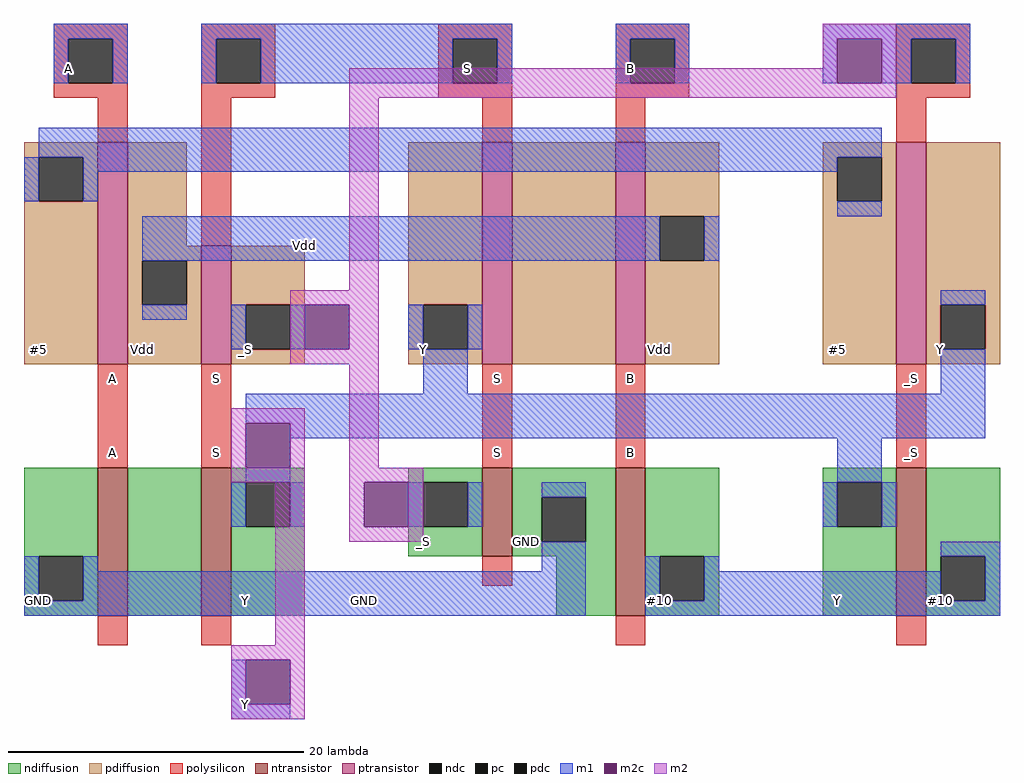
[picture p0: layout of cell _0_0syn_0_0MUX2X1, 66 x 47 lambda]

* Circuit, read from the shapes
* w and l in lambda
.subckt _0_0syn_0_0MUX2X1 GND Vdd S B Y A
M1 n1 A GND VSUBS nfet w=10 l=2
M2 Y S n1 VSUBS nfet w=10 l=2
M3 GND S _S VSUBS nfet w=6 l=2
M4 #10 B GND VSUBS nfet w=10 l=2
M5 #10 _S Y VSUBS nfet w=10 l=2
M6 Vdd A #5 NWELL pfet w=15 l=2
M7 _S S Vdd NWELL pfet w=8 l=2
M8 n2 S Y NWELL pfet w=15 l=2
M9 Vdd B n2 NWELL pfet w=15 l=2
M10 Y _S #5 NWELL pfet w=15 l=2
.ends

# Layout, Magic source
magic
tech sky130l
<< ndiffusion >>
rect 8 10 13 16
rect 8 7 9 10
rect 12 7 13 10
rect 8 6 13 7
rect 15 6 20 16
rect 22 15 27 16
rect 22 12 23 15
rect 26 12 27 15
rect 22 6 27 12
rect 34 15 39 16
rect 34 12 35 15
rect 38 12 39 15
rect 34 10 39 12
rect 41 14 48 16
rect 41 11 43 14
rect 46 11 48 14
rect 41 10 48 11
rect 44 6 48 10
rect 50 10 55 16
rect 50 7 51 10
rect 54 7 55 10
rect 50 6 55 7
rect 62 15 67 16
rect 62 12 63 15
rect 66 12 67 15
rect 62 6 67 12
rect 69 10 74 16
rect 69 7 70 10
rect 73 7 74 10
rect 69 6 74 7
<< ndc >>
rect 9 7 12 10
rect 23 12 26 15
rect 35 12 38 15
rect 43 11 46 14
rect 51 7 54 10
rect 63 12 66 15
rect 70 7 73 10
<< ntransistor >>
rect 13 6 15 16
rect 20 6 22 16
rect 39 10 41 16
rect 48 6 50 16
rect 67 6 69 16
<< pdiffusion >>
rect 8 37 13 38
rect 8 34 9 37
rect 12 34 13 37
rect 8 23 13 34
rect 15 31 19 38
rect 15 30 20 31
rect 15 27 16 30
rect 19 27 20 30
rect 15 23 20 27
rect 22 27 27 31
rect 22 24 23 27
rect 26 24 27 27
rect 22 23 27 24
rect 34 27 39 38
rect 34 24 35 27
rect 38 24 39 27
rect 34 23 39 24
rect 41 23 48 38
rect 50 33 55 38
rect 50 30 51 33
rect 54 30 55 33
rect 50 23 55 30
rect 62 37 67 38
rect 62 34 63 37
rect 66 34 67 37
rect 62 23 67 34
rect 69 27 74 38
rect 69 24 70 27
rect 73 24 74 27
rect 69 23 74 24
<< pdc >>
rect 9 34 12 37
rect 16 27 19 30
rect 23 24 26 27
rect 35 24 38 27
rect 51 30 54 33
rect 63 34 66 37
rect 70 24 73 27
<< ptransistor >>
rect 13 23 15 38
rect 20 23 22 31
rect 39 23 41 38
rect 48 23 50 38
rect 67 23 69 38
<< polysilicon >>
rect 10 45 15 46
rect 10 42 11 45
rect 14 42 15 45
rect 10 41 15 42
rect 13 38 15 41
rect 20 45 25 46
rect 20 42 21 45
rect 24 42 25 45
rect 20 41 25 42
rect 36 45 41 46
rect 36 42 37 45
rect 40 42 41 45
rect 36 41 41 42
rect 20 31 22 41
rect 39 38 41 41
rect 48 45 53 46
rect 48 42 49 45
rect 52 42 53 45
rect 48 41 53 42
rect 67 45 72 46
rect 67 42 68 45
rect 71 42 72 45
rect 67 41 72 42
rect 48 38 50 41
rect 67 38 69 41
rect 13 16 15 23
rect 20 16 22 23
rect 39 16 41 23
rect 48 16 50 23
rect 67 16 69 23
rect 39 8 41 10
rect 13 4 15 6
rect 20 4 22 6
rect 48 4 50 6
rect 67 4 69 6
<< pc >>
rect 11 42 14 45
rect 21 42 24 45
rect 37 42 40 45
rect 49 42 52 45
rect 68 42 71 45
<< m1 >>
rect 10 45 15 46
rect 10 42 11 45
rect 14 42 15 45
rect 20 45 41 46
rect 20 42 21 45
rect 24 42 37 45
rect 40 42 41 45
rect 48 45 53 46
rect 48 42 49 45
rect 52 42 53 45
rect 62 45 72 46
rect 62 42 63 45
rect 66 42 68 45
rect 71 42 72 45
rect 9 37 66 39
rect 8 34 9 37
rect 12 36 63 37
rect 12 34 13 36
rect 63 33 66 34
rect 16 30 51 33
rect 54 30 55 33
rect 70 27 73 28
rect 16 26 19 27
rect 22 24 23 27
rect 26 24 27 27
rect 34 24 35 27
rect 38 24 39 27
rect 35 21 38 24
rect 70 21 73 24
rect 23 19 73 21
rect 26 18 73 19
rect 23 15 26 16
rect 63 15 66 18
rect 22 12 23 15
rect 26 12 27 15
rect 34 12 35 15
rect 38 12 39 15
rect 43 14 46 15
rect 62 12 63 15
rect 66 12 67 15
rect 8 7 9 10
rect 12 9 13 10
rect 43 9 46 11
rect 70 10 74 11
rect 12 7 46 9
rect 8 6 46 7
rect 50 7 51 10
rect 54 9 55 10
rect 54 7 70 9
rect 73 7 74 10
rect 50 6 74 7
rect 22 0 23 3
rect 22 -1 26 0
<< m2c >>
rect 63 42 66 45
rect 27 24 30 27
rect 23 16 26 19
rect 31 12 34 15
rect 23 0 26 3
<< m2 >>
rect 62 45 67 46
rect 62 43 63 45
rect 30 42 63 43
rect 66 42 67 45
rect 30 41 67 42
rect 30 28 32 41
rect 26 27 32 28
rect 26 24 27 27
rect 30 24 32 27
rect 26 23 32 24
rect 22 19 27 20
rect 22 16 23 19
rect 26 16 27 19
rect 22 15 27 16
rect 25 4 27 15
rect 30 16 32 23
rect 30 15 35 16
rect 30 12 31 15
rect 34 12 35 15
rect 30 11 35 12
rect 22 3 27 4
rect 22 0 23 3
rect 26 0 27 3
rect 22 -1 27 0
<< labels >>
rlabel ndiffusion 23 7 23 7 3 Y
rlabel polysilicon 14 17 14 17 3 A
rlabel polysilicon 14 22 14 22 3 A
rlabel ndiffusion 9 7 9 7 3 GND
rlabel pdiffusion 9 24 9 24 3 #5
rlabel ndiffusion 51 7 51 7 3 #10
rlabel polysilicon 49 17 49 17 3 B
rlabel polysilicon 49 22 49 22 3 B
rlabel ndiffusion 42 11 42 11 3 GND
rlabel pdiffusion 35 24 35 24 3 Y
rlabel ndiffusion 70 7 70 7 3 #10
rlabel pdiffusion 70 24 70 24 3 Y
rlabel ndiffusion 63 7 63 7 3 Y
rlabel pdiffusion 63 24 63 24 3 #5
rlabel pdiffusion 16 24 16 24 3 Vdd
rlabel pdiffusion 51 24 51 24 3 Vdd
rlabel m1 11 43 11 43 3 A
port 6 e
rlabel m1 49 43 49 43 3 B
port 4 e
rlabel m1 27 31 27 31 3 Vdd
port 2 e
rlabel m1 31 7 31 7 3 GND
port 1 e
rlabel m1 23 0 23 0 3 Y
port 5 e
rlabel polysilicon 68 17 68 17 3 _S
rlabel polysilicon 68 22 68 22 3 _S
rlabel polysilicon 21 17 21 17 3 S
rlabel polysilicon 21 22 21 22 3 S
rlabel polysilicon 40 17 40 17 3 S
rlabel polysilicon 40 22 40 22 3 S
rlabel pc 38 43 38 43 3 S
port 3 e
rlabel pdiffusion 23 24 23 24 3 _S
rlabel ndiffusion 35 11 35 11 3 _S
<< end >>
